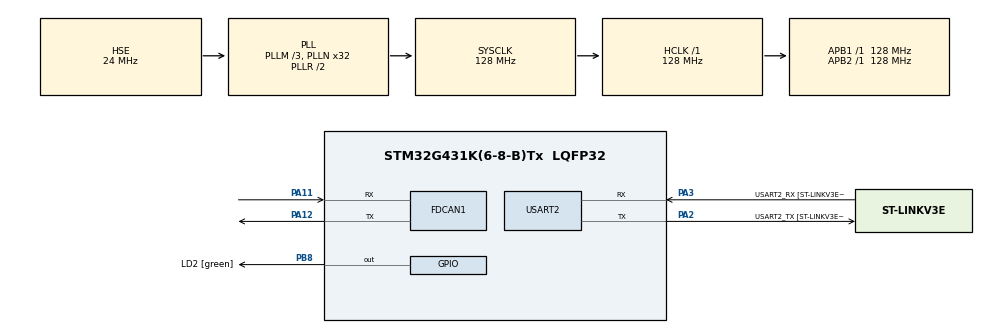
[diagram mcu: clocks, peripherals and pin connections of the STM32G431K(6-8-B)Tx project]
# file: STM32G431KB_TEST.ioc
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Dma.Request0=USART2_RX
Dma.Request1=USART2_TX
Dma.USART2_RX.0.Direction=DMA_PERIPH_TO_MEMORY
Dma.USART2_RX.0.EventEnable=DISABLE
Dma.USART2_RX.0.Instance=DMA1_Channel1
Dma.USART2_RX.0.MemDataAlignment=DMA_MDATAALIGN_BYTE
Dma.USART2_RX.0.MemInc=DMA_MINC_ENABLE
Dma.USART2_RX.0.Mode=DMA_CIRCULAR
Dma.USART2_RX.0.PeriphDataAlignment=DMA_PDATAALIGN_BYTE
Dma.USART2_RX.0.PeriphInc=DMA_PINC_DISABLE
Dma.USART2_RX.0.Polarity=HAL_DMAMUX_REQ_GEN_RISING
Dma.USART2_RX.0.Priority=DMA_PRIORITY_LOW
Dma.USART2_RX.0.RequestNumber=1
Dma.USART2_RX.0.SignalID=NONE
Dma.USART2_RX.0.SyncEnable=DISABLE
Dma.USART2_RX.0.SyncPolarity=HAL_DMAMUX_SYNC_NO_EVENT
Dma.USART2_RX.0.SyncRequestNumber=1
Dma.USART2_RX.0.SyncSignalID=NONE
Dma.USART2_TX.1.Direction=DMA_MEMORY_TO_PERIPH
Dma.USART2_TX.1.EventEnable=DISABLE
Dma.USART2_TX.1.Instance=DMA1_Channel2
Dma.USART2_TX.1.MemDataAlignment=DMA_MDATAALIGN_BYTE
Dma.USART2_TX.1.MemInc=DMA_MINC_ENABLE
Dma.USART2_TX.1.Mode=DMA_NORMAL
Dma.USART2_TX.1.PeriphDataAlignment=DMA_PDATAALIGN_BYTE
Dma.USART2_TX.1.PeriphInc=DMA_PINC_DISABLE
Dma.USART2_TX.1.Polarity=HAL_DMAMUX_REQ_GEN_RISING
Dma.USART2_TX.1.Priority=DMA_PRIORITY_LOW
Dma.USART2_TX.1.RequestNumber=1
Dma.USART2_TX.1.SignalID=NONE
Dma.USART2_TX.1.SyncEnable=DISABLE
Dma.USART2_TX.1.SyncPolarity=HAL_DMAMUX_SYNC_NO_EVENT
Dma.USART2_TX.1.SyncRequestNumber=1
Dma.USART2_TX.1.SyncSignalID=NONE
FDCAN1.NominalPrescaler=8
FDCAN1.NominalSyncJumpWidth=1
FDCAN1.NominalTimeSeg1=13
FDCAN1.NominalTimeSeg2=2
FDCAN1.StdFiltersNbr=28
Mcu.Family=STM32G4
Mcu.Name=STM32G431K(6-8-B)Tx
Mcu.Package=LQFP32
NVIC.DMA1_Channel1_IRQn=true\:0\:0\:false\:false\:true\:false\:true\:true
NVIC.DMA1_Channel2_IRQn=true\:0\:0\:false\:false\:true\:false\:true\:true
NVIC.FDCAN1_IT0_IRQn=true\:0\:0\:false\:false\:true\:true\:true\:true
NVIC.PriorityGroup=NVIC_PRIORITYGROUP_4
NVIC.USART2_IRQn=true\:0\:0\:false\:false\:true\:true\:true\:true
PA11.GPIO_PuPd=GPIO_PULLUP
PA11.GPIO_Speed=GPIO_SPEED_FREQ_VERY_HIGH
PA11.Mode=FDCAN_Activate
PA11.Signal=FDCAN1_RX
PA12.GPIO_PuPd=GPIO_PULLUP
PA12.GPIO_Speed=GPIO_SPEED_FREQ_VERY_HIGH
PA12.Mode=FDCAN_Activate
PA12.Signal=FDCAN1_TX
PA13.GPIO_Label=T_SWDIO
PA13.Mode=Serial_Wire
PA13.Signal=SYS_JTMS-SWDIO
PA14.GPIO_Label=T_SWCLK
PA14.Mode=Serial_Wire
PA14.Signal=SYS_JTCK-SWCLK
PA2.GPIO_Label=USART2_TX [ST-LINKV3E_VCP_RX]
PA2.Mode=Asynchronous
PA2.Signal=USART2_TX
PA3.GPIO_Label=USART2_RX [ST-LINKV3E_VCP_TX]
PA3.GPIO_PuPd=GPIO_PULLUP
PA3.Mode=Asynchronous
PA3.Signal=USART2_RX
PB3.GPIO_Label=T_SWO
PB3.Signal=SYS_JTDO-SWO
PB8-BOOT0.GPIO_Label=LD2 [green]
PB8-BOOT0.Signal=GPIO_Output
PF0-OSC_IN.Mode=HSE-External-Oscillator
PF0-OSC_IN.Signal=RCC_OSC_IN
PF1-OSC_OUT.Mode=HSE-External-Oscillator
PF1-OSC_OUT.Signal=RCC_OSC_OUT
ProjectManager.HeapSize=0x200
ProjectManager.StackSize=0x400
ProjectManager.TargetToolchain=EWARM V8.32
RCC.ADC12Freq_Value=128000000
RCC.AHBFreq_Value=128000000
RCC.APB1Freq_Value=128000000
RCC.APB1TimFreq_Value=128000000
RCC.APB2Freq_Value=128000000
RCC.APB2TimFreq_Value=128000000
RCC.CortexFreq_Value=128000000
RCC.EXTERNAL_CLOCK_VALUE=12288000
RCC.EnbaleCSS=true
RCC.HCLKFreq_Value=128000000
RCC.HSE_VALUE=24000000
RCC.HSI48_VALUE=48000000
RCC.HSI_VALUE=16000000
RCC.LSE_VALUE=32768
RCC.PLLM=RCC_PLLM_DIV3
RCC.PLLN=32
RCC.PLLSourceVirtual=RCC_PLLSOURCE_HSE
RCC.SYSCLKFreq_VALUE=128000000
RCC.SYSCLKSource=RCC_SYSCLKSOURCE_PLLCLK
RCC.USBFreq_Value=128000000
RCC.VCOOutputFreq_Value=256000000
USART2.VirtualMode-Asynchronous=VM_ASYNC
USART2.WordLength=WORDLENGTH_8B
VP_SYS_VS_DBSignals.Mode=DisableDeadBatterySignals
board=NUCLEO-G431KB

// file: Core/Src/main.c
/* USER CODE BEGIN Header */
/**
******************************************************************************
* @file           : main.c
* @brief          : Main program body
******************************************************************************
* @attention
*
* <h2><center>&copy; Copyright (c) 2023 STMicroelectronics.
* All rights reserved.</center></h2>
*
* This software component is licensed by ST under BSD 3-Clause license,
* the "License"; You may not use this file except in compliance with the
* License. You may obtain a copy of the License at:
*                        opensource.org/licenses/BSD-3-Clause
*
******************************************************************************
*/
/* USER CODE END Header */
#include "main.h"
#include "dma.h"
#include "fdcan.h"
#include "usart.h"
#include "gpio.h"

/* USER CODE BEGIN Includes */
#include "serial.h"
#include "utility.h"
/* USER CODE END Includes */

void SystemClock_Config(void);
/* USER CODE BEGIN PFP */
void setup(void);
void loop_sync(void);
void loop_async(void);
/* USER CODE END PFP */

int main(void)
{

  /* MCU Configuration--------------------------------------------------------*/

  /* Reset of all peripherals, Initializes the Flash interface and the Systick. */
  HAL_Init();

  /* Configure the system clock */
  SystemClock_Config();

  /* Initialize all configured peripherals */
  MX_DMA_Init();
  MX_GPIO_Init();
  MX_FDCAN1_Init();
  MX_USART2_UART_Init();

  /* Infinite loop */
  /* USER CODE BEGIN WHILE */
	setup();

	while (1)
	{
		loop_async();
    /* USER CODE END WHILE */

	}
}

void SystemClock_Config(void)
{
  RCC_OscInitTypeDef RCC_OscInitStruct = {0};
  RCC_ClkInitTypeDef RCC_ClkInitStruct = {0};
  RCC_PeriphCLKInitTypeDef PeriphClkInit = {0};

  /** Configure the main internal regulator output voltage
  */
  HAL_PWREx_ControlVoltageScaling(PWR_REGULATOR_VOLTAGE_SCALE1);
  /** Initializes the RCC Oscillators according to the specified parameters
  * in the RCC_OscInitTypeDef structure.
  */
  RCC_OscInitStruct.OscillatorType = RCC_OSCILLATORTYPE_HSE;
  RCC_OscInitStruct.HSEState = RCC_HSE_ON;
  RCC_OscInitStruct.PLL.PLLState = RCC_PLL_ON;
  RCC_OscInitStruct.PLL.PLLSource = RCC_PLLSOURCE_HSE;
  RCC_OscInitStruct.PLL.PLLM = RCC_PLLM_DIV3;
  RCC_OscInitStruct.PLL.PLLN = 32;
  RCC_OscInitStruct.PLL.PLLP = RCC_PLLP_DIV2;
  RCC_OscInitStruct.PLL.PLLQ = RCC_PLLQ_DIV2;
  RCC_OscInitStruct.PLL.PLLR = RCC_PLLR_DIV2;
  if (HAL_RCC_OscConfig(&RCC_OscInitStruct) != HAL_OK)
  {
    Error_Handler();
  }
  /** Initializes the CPU, AHB and APB buses clocks
  */
  RCC_ClkInitStruct.ClockType = RCC_CLOCKTYPE_HCLK|RCC_CLOCKTYPE_SYSCLK
                              |RCC_CLOCKTYPE_PCLK1|RCC_CLOCKTYPE_PCLK2;
  RCC_ClkInitStruct.SYSCLKSource = RCC_SYSCLKSOURCE_PLLCLK;
  RCC_ClkInitStruct.AHBCLKDivider = RCC_SYSCLK_DIV1;
  RCC_ClkInitStruct.APB1CLKDivider = RCC_HCLK_DIV1;
  RCC_ClkInitStruct.APB2CLKDivider = RCC_HCLK_DIV1;

  if (HAL_RCC_ClockConfig(&RCC_ClkInitStruct, FLASH_LATENCY_3) != HAL_OK)
  {
    Error_Handler();
  }
  /** Initializes the peripherals clocks
  */
  PeriphClkInit.PeriphClockSelection = RCC_PERIPHCLK_USART2|RCC_PERIPHCLK_FDCAN;
  PeriphClkInit.Usart2ClockSelection = RCC_USART2CLKSOURCE_PCLK1;
  PeriphClkInit.FdcanClockSelection = RCC_FDCANCLKSOURCE_PCLK1;
  if (HAL_RCCEx_PeriphCLKConfig(&PeriphClkInit) != HAL_OK)
  {
    Error_Handler();
  }
  /** Enables the Clock Security System
  */
  HAL_RCC_EnableCSS();
}

/* USER CODE BEGIN 4 */
void setup(void)
{
	__disable_irq();

	/* USART for Virtual com port */
	vcp.init(&vcp);

	if (HAL_UART_Receive_DMA(vcp.huart, (uint8_t *)vcp.rx_buffer, UART_RX_BUFF_SIZE) != HAL_OK)
	{
		Error_Handler();
	}

	if (HAL_FDCAN_Start(hcan.module) != HAL_OK)
	{
		Error_Handler();
	}

	if (HAL_FDCAN_ActivateNotification(hcan.module, hcan.activeITs, hcan.rxloc) != HAL_OK)
	{
		Error_Handler();
	}

	hcan.txmsg.header.Identifier = 1;
	hcan.txmsg.header.IdType = FDCAN_STANDARD_ID;
	hcan.txmsg.header.TxFrameType = FDCAN_DATA_FRAME;
	hcan.txmsg.header.DataLength = FDCAN_DLC_BYTES_8;
	hcan.txmsg.header.ErrorStateIndicator = FDCAN_ESI_ACTIVE;
	hcan.txmsg.header.BitRateSwitch = FDCAN_BRS_OFF;
	hcan.txmsg.header.FDFormat = FDCAN_CLASSIC_CAN;
	hcan.txmsg.header.TxEventFifoControl = FDCAN_NO_TX_EVENTS;
	hcan.txmsg.header.MessageMarker = 0;

	__enable_irq();
}

int cnt = 0;
void loop_sync(void)
{
	if (++cnt >= 1000)
	{
		cnt = 0;

		if (HAL_FDCAN_GetTxFifoFreeLevel(hcan.module) > 0)
		{
			if (HAL_FDCAN_AddMessageToTxFifoQ(hcan.module, &hcan.txmsg.header, hcan.txmsg.data) != HAL_OK)
			{
				serial_print(&vcp, "CAN tx fault");
			}
		}
	}
}

void loop_async(void)
{
	vcp.run(&vcp);
}

void parse_vcp(SerialHandler *h)
{
	//
}

void HAL_FDCAN_RxFifo0Callback(FDCAN_HandleTypeDef *hfdcan, uint32_t RxFifo0ITs)
{
	if ((hfdcan->Instance == hcan.module->Instance) && ((RxFifo0ITs & hcan.activeITs) != 0))
	{
		if (HAL_FDCAN_GetRxMessage(hcan.module, hcan.rxloc, &hcan.rxmsg.header, hcan.rxmsg.data) != HAL_OK)
		{
			Error_Handler();
		}
	}
}

void HAL_SYSTICK_Callback(void)
{
	loop_sync();
}
/* USER CODE END 4 */

void Error_Handler(void)
{
	__disable_irq();
	while (1)
	{
	}
}

/************************ (C) COPYRIGHT STMicroelectronics *****END OF FILE****/
